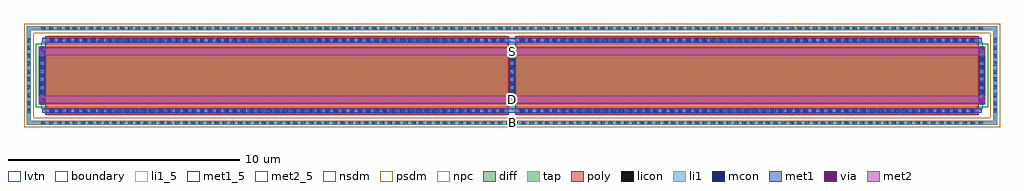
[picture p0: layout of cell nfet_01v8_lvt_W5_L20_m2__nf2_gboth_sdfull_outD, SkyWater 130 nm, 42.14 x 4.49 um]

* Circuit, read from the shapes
.subckt nfet_01v8_lvt_W5_L20_m2__nf2_gboth_sdfull_outD B D G S
XM1 S G D B sky130_fd_pr__nfet_01v8_lvt w=2.5 l=20 m=2
.ends

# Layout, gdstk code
import gdstk
lib = gdstk.Library(unit=1e-6, precision=1e-09)
def R(c, l, rs):  # rectangles x0, y0, x1, y1
    for r in rs: c.add(gdstk.rectangle(r[:2], r[2:], *l))
def A(c, l, x, y, w, h, nx, ny, dx, dy):  # array of equal rectangles
    R(c, l, [(x+i*dx, y+j*dy, x+i*dx+w, y+j*dy+h) for i in range(nx) for j in range(ny)])
diff = (65, 20)
tap = (65, 44)
poly = (66, 20)
licon = (66, 44)
li1_5 = (67, 5)
li1 = (67, 20)
mcon = (67, 44)
met1_5 = (68, 5)
met1 = (68, 20)
via = (68, 44)
met2_5 = (69, 5)
met2 = (69, 20)
nsdm = (93, 44)
psdm = (94, 20)
npc = (95, 20)
lvtn = (125, 44)
boundary = (235, 4)

sky130_fd_pr__nfet_01v8_ = lib.new_cell('sky130_fd_pr__nfet_01v8_lvt_ZTGVEE')
R(sky130_fd_pr__nfet_01v8_, diff, [(-20.435,-1.25,20.435,1.25)])
R(sky130_fd_pr__nfet_01v8_, tap, [(-20.945,-2.12,20.945,-1.95), (-20.945,-1.95,-20.775,1.95), (20.775,-1.95,20.945,1.95), (-20.945,1.95,20.945,2.12)])
R(sky130_fd_pr__nfet_01v8_, poly, [(-20.145,-1.69,-0.145,1.69), (0.145,-1.69,20.145,1.69)])
A(sky130_fd_pr__nfet_01v8_, licon, -20.315, -2.12, 0.17, 0.17, 120, 2, 0.34, 4.07)
A(sky130_fd_pr__nfet_01v8_, licon, -20.945, -1.615, 0.17, 0.17, 1, 10, 0, 0.34)
A(sky130_fd_pr__nfet_01v8_, licon, 20.775, -1.615, 0.17, 0.17, 1, 10, 0, 0.34)
A(sky130_fd_pr__nfet_01v8_, licon, -19.92, -1.61, 0.17, 0.17, 58, 2, 0.34, 3.05)
A(sky130_fd_pr__nfet_01v8_, licon, 0.37, -1.61, 0.17, 0.17, 58, 2, 0.34, 3.05)
A(sky130_fd_pr__nfet_01v8_, licon, -20.375, -1.105, 0.17, 0.17, 3, 7, 20.29, 0.34)
A(sky130_fd_pr__nfet_01v8_, li1, -20.375, -1.27, 0.17, 2.54, 3, 1, 20.29, 0)
R(sky130_fd_pr__nfet_01v8_, li1, [(-20.945,-2.12,20.945,-1.95), (-20.945,-1.95,-20.775,1.95), (20.775,-1.95,20.945,1.95), (-20.29,-1.61,20.29,-1.44), (-20.29,1.44,20.29,1.61), (-20.945,1.95,20.945,2.12)])
A(sky130_fd_pr__nfet_01v8_, mcon, -19.95, -1.61, 0.17, 0.17, 55, 2, 0.36, 3.05)
A(sky130_fd_pr__nfet_01v8_, mcon, 0.34, -1.61, 0.17, 0.17, 55, 2, 0.36, 3.05)
A(sky130_fd_pr__nfet_01v8_, mcon, -20.375, -1.165, 0.17, 0.17, 3, 7, 20.29, 0.36)
A(sky130_fd_pr__nfet_01v8_, met1, -20.405, -1.25, 0.23, 2.5, 3, 1, 20.29, 0)
R(sky130_fd_pr__nfet_01v8_, met1, [(-20.125,-1.64,-0.165,-1.61), (0.165,-1.64,20.125,-1.61), (-20.29,-1.61,20.29,-1.44), (-20.125,-1.44,-0.165,-1.41), (0.165,-1.44,20.125,-1.41), (-20.125,1.41,-0.165,1.44), (0.165,1.41,20.125,1.44), (-20.29,1.44,20.29,1.61), (-20.125,1.61,-0.165,1.64), (0.165,1.61,20.125,1.64)])
R(sky130_fd_pr__nfet_01v8_, nsdm, [(-20.56,-1.375,20.56,1.375)])
R(sky130_fd_pr__nfet_01v8_, psdm, [(-21.07,-2.245,21.07,-1.825), (-21.07,-1.825,-20.65,1.825), (20.65,-1.825,21.07,1.825), (-21.07,1.825,21.07,2.245)])
R(sky130_fd_pr__nfet_01v8_, npc, [(-20.02,-1.71,-0.27,-1.34), (0.27,-1.71,20.02,-1.34), (-20.02,1.34,-0.27,1.71), (0.27,1.34,20.02,1.71)])
R(sky130_fd_pr__nfet_01v8_, lvtn, [(-20.325,-1.43,20.325,1.43)])
R(sky130_fd_pr__nfet_01v8_, boundary, [(-20.86,-2.035,20.86,2.035)])
sky130_fd_pr__nfet_01v8_.add(gdstk.Label('B', (0,-2.035), layer=67, texttype=5))
sky130_fd_pr__nfet_01v8_.add(gdstk.Label('D0', (-20.29,0), layer=67, texttype=5))
sky130_fd_pr__nfet_01v8_.add(gdstk.Label('G', (10.145,1.525), layer=67, texttype=5))
sky130_fd_pr__nfet_01v8_.add(gdstk.Label('G', (-10.145,1.525), layer=67, texttype=5))
sky130_fd_pr__nfet_01v8_.add(gdstk.Label('S1', (0,0), layer=67, texttype=5))

nfet_01v8_lvt_w5_l20_m2_ = lib.new_cell('nfet_01v8_lvt_W5_L20_m2__nf2_gboth_sdfull_outD')
R(nfet_01v8_lvt_w5_l20_m2_, li1_5, [(20.775,-0.085,20.945,0.085)])
R(nfet_01v8_lvt_w5_l20_m2_, li1, [(20.775,-0.085,20.945,0.085)])
R(nfet_01v8_lvt_w5_l20_m2_, met1_5, [(0.57,3.445,41.15,3.675)])
R(nfet_01v8_lvt_w5_l20_m2_, met1, [(0.44,0.835,0.7,1.155), (41.02,0.835,41.28,1.155), (20.73,2.915,20.99,3.235), (0.57,3.445,41.15,3.675)])
R(nfet_01v8_lvt_w5_l20_m2_, via, [(0.495,0.92,0.645,1.07), (41.075,0.92,41.225,1.07), (20.785,3,20.935,3.15)])
R(nfet_01v8_lvt_w5_l20_m2_, met2_5, [(0.435,0.835,41.285,1.155), (0.435,2.915,41.285,3.235)])
R(nfet_01v8_lvt_w5_l20_m2_, met2, [(0.435,0.835,41.285,1.155), (0.435,2.915,41.285,3.235)])
nfet_01v8_lvt_w5_l20_m2_.add(gdstk.Reference(sky130_fd_pr__nfet_01v8_, (20.86,2.035)))
nfet_01v8_lvt_w5_l20_m2_.add(gdstk.Label('S', (20.86,3.075), layer=69, texttype=5))
nfet_01v8_lvt_w5_l20_m2_.add(gdstk.Label('D', (20.86,0.995), layer=69, texttype=5))
nfet_01v8_lvt_w5_l20_m2_.add(gdstk.Label('G', (20.86,3.56), layer=68, texttype=5))
nfet_01v8_lvt_w5_l20_m2_.add(gdstk.Label('B', (20.86,0), layer=67, texttype=5))

lib.write_gds('nfet_01v8_lvt_W5_L20_m2__nf2_gboth_sdfull_outD.gds')
